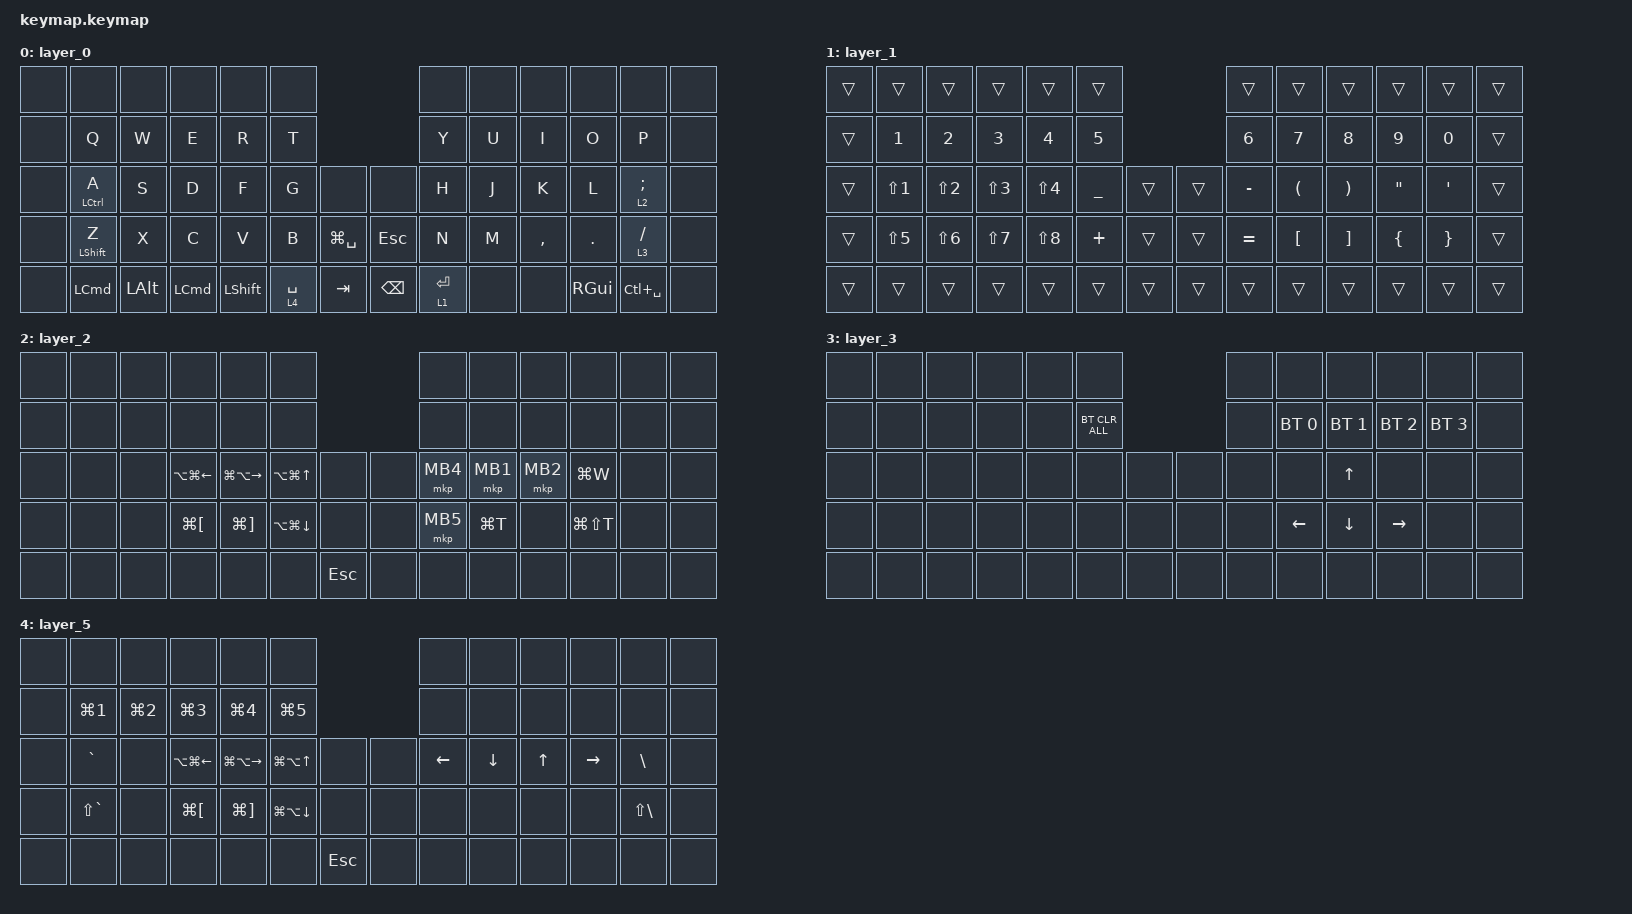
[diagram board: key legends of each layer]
#include <behaviors.dtsi>
#include <dt-bindings/zmk/bt.h>
#include <dt-bindings/zmk/keys.h>
#include <dt-bindings/zmk/pointing.h>

#define SCROLL_LAYER 3

/ {
    combos {
        compatible = "zmk,combos";

        bt_clear {
            bindings = <&bt BT_CLR>;
            key-positions = <28 29>;
            layers = <2>;
        };

        esc {
            bindings = <&kp ESCAPE>;
            key-positions = <13 14>;
            layers = <0>;
        };
    };

    behaviors {
        home_row_mods_behavior: home_row_mods_behavior {
            compatible = "zmk,behavior-hold-tap";
            label = "HOME_ROW_MODS_BEHAVIOR";
            bindings = <&kp>, <&kp>;

            #binding-cells = <2>;
            tapping-term-ms = <220>;
            flavor = "balanced";
            quick-tap-ms = <175>;
            require-prior-idle-ms = <125>;
        };

        hold_arrow_behavior: hold_arrow_behavior {
            compatible = "zmk,behavior-hold-tap";
            label = "HOLD_ARROW_BEHAVIOR";
            #binding-cells = <2>;
            bindings = <&mo>, <&kp>;

            tapping-term-ms = <180>;
            quick-tap-ms = <0>;
            require-prior-idle-ms = <0>;
        };
    };

    keymap {
        compatible = "zmk,keymap";

        layer_0 {
            bindings = <
&none  &none                                   &none         &none             &none           &none                                      &none        &none  &none      &none     &none                         &none
&none  &kp Q                                   &kp W         &kp E             &kp R           &kp T                                      &kp Y        &kp U  &kp I      &kp O     &kp P                         &none
&none  &home_row_mods_behavior LEFT_CONTROL A  &kp S         &kp D             &kp F           &kp G        &none          &none          &kp H        &kp J  &kp K      &kp L     &lt 2 SEMICOLON               &none
&none  &home_row_mods_behavior LEFT_SHIFT Z    &kp X         &kp C             &kp V           &kp B        &kp LG(SPACE)  &kp ESC        &kp N        &kp M  &kp COMMA  &kp DOT   &hold_arrow_behavior 3 SLASH  &none
&none  &kp LEFT_COMMAND                        &kp LEFT_ALT  &kp LEFT_COMMAND  &kp LEFT_SHIFT  &lt 4 SPACE  &kp TAB        &kp BACKSPACE  &lt 1 ENTER  &none  &none      &kp RGUI  &kp LC(SPACE)                 &none
            >;
        };

        layer_1 {
            bindings = <
&trans  &trans      &trans      &trans      &trans      &trans                          &trans     &trans                &trans                 &trans             &trans            &trans
&trans  &kp N1      &kp N2      &kp N3      &kp N4      &kp N5                          &kp N6     &kp N7                &kp N8                 &kp N9             &kp N0            &trans
&trans  &kp LS(N1)  &kp LS(N2)  &kp LS(N3)  &kp LS(N4)  &kp UNDERSCORE  &trans  &trans  &kp MINUS  &kp LEFT_PARENTHESIS  &kp RIGHT_PARENTHESIS  &kp DOUBLE_QUOTES  &kp SINGLE_QUOTE  &trans
&trans  &kp LS(N5)  &kp LS(N6)  &kp LS(N7)  &kp LS(N8)  &kp PLUS        &trans  &trans  &kp EQUAL  &kp LEFT_BRACKET      &kp RIGHT_BRACKET      &kp LEFT_BRACE     &kp RIGHT_BRACE   &trans
&trans  &trans      &trans      &trans      &trans      &trans          &trans  &trans  &trans     &trans                &trans                 &trans             &trans            &trans
            >;
        };

        layer_2 {
            bindings = <
&none  &none  &none  &none                 &none                  &none                                &none     &none      &none     &none          &none  &none
&none  &none  &none  &none                 &none                  &none                                &none     &none      &none     &none          &none  &none
&none  &none  &none  &kp LA(LG(LEFT))      &kp LG(LA(RIGHT))      &kp LA(LG(UP))    &none       &none  &mkp MB4  &mkp MB1   &mkp MB2  &kp LG(W)      &none  &none
&none  &none  &none  &kp LG(LEFT_BRACKET)  &kp LG(RIGHT_BRACKET)  &kp LA(LG(DOWN))  &none       &none  &mkp MB5  &kp LG(T)  &none     &kp LG(LS(T))  &none  &none
&none  &none  &none  &none                 &none                  &none             &kp ESCAPE  &none  &none     &none      &none     &none          &none  &none
            >;
        };

        layer_3 {
            bindings = <
&none  &none  &none  &none  &none  &none                         &none  &none         &none         &none         &none         &none
&none  &none  &none  &none  &none  &bt BT_CLR_ALL                &none  &bt BT_SEL 0  &bt BT_SEL 1  &bt BT_SEL 2  &bt BT_SEL 3  &none
&none  &none  &none  &none  &none  &none           &none  &none  &none  &none         &kp UP_ARROW  &none         &none         &none
&none  &none  &none  &none  &none  &none           &none  &none  &none  &kp LEFT      &kp DOWN      &kp RIGHT     &none         &none
&none  &none  &none  &none  &none  &none           &none  &none  &none  &none         &none         &none         &none         &none
            >;
        };

        layer_5 {
            bindings = <
&none  &none             &none             &none                 &none                  &none                             &none     &none     &none   &none      &none              &none
&none  &kp LG(NUMBER_1)  &kp LG(NUMBER_2)  &kp LG(NUMBER_3)      &kp LG(NUMBER_4)       &kp LG(NUMBER_5)                  &none     &none     &none   &none      &none              &none
&none  &kp GRAVE         &none             &kp LA(LG(LEFT))      &kp LG(LA(RIGHT))      &kp LG(LA(UP))    &none    &none  &kp LEFT  &kp DOWN  &kp UP  &kp RIGHT  &kp BACKSLASH      &none
&none  &kp LS(GRAVE)     &none             &kp LG(LEFT_BRACKET)  &kp LG(RIGHT_BRACKET)  &kp LG(LA(DOWN))  &none    &none  &none     &none     &none   &none      &kp LS(BACKSLASH)  &none
&none  &none             &none             &none                 &none                  &none             &kp ESC  &none  &none     &none     &none   &none      &none              &none
            >;
        };
    };
};
